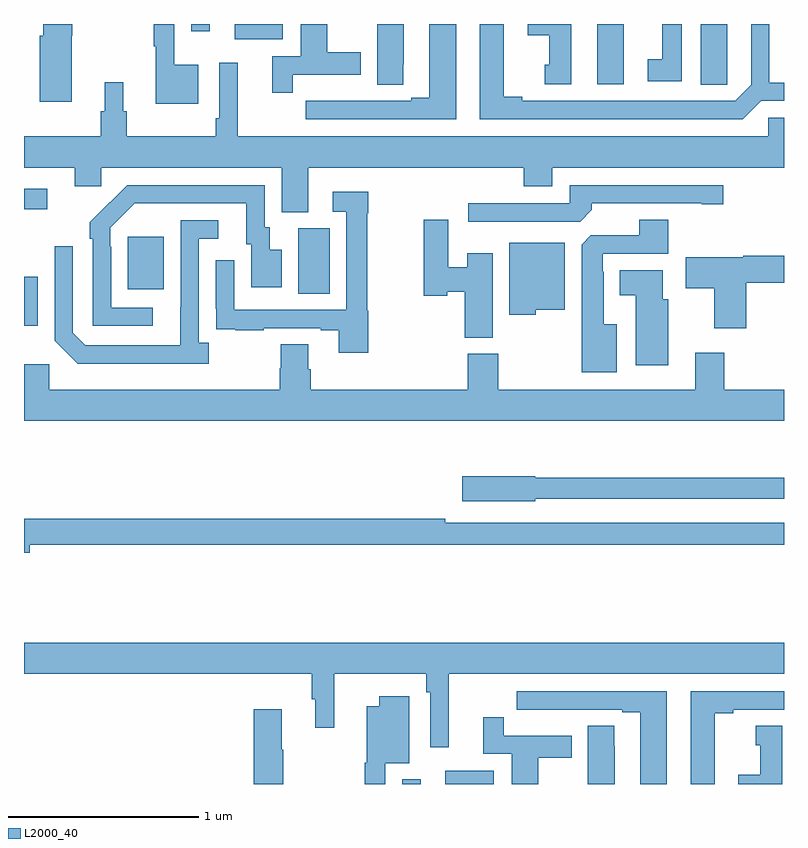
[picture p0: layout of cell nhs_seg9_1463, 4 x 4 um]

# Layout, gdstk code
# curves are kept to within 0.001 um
import gdstk
lib = gdstk.Library(unit=1e-6, precision=1e-09)
def R(c, l, rs):  # rectangles x0, y0, x1, y1
    for r in rs: c.add(gdstk.rectangle(r[:2], r[2:], *l))
def P(c, l, *ps):  # polygons
    for p in ps: c.add(gdstk.Polygon(p, *l))
L2000_40 = (2000, 40)

nhs_seg9_1463 = lib.new_cell('nhs_seg9_1463')
R(nhs_seg9_1463, L2000_40, [(194.991,1202.5,195.088,1202.524), (195.218,1202.5,195.472,1202.569), (193,1204.913,193.072,1205.17), (194.444,1205.08,194.608,1205.424), (193.547,1205.105,193.735,1205.38), (193,1205.526,193.123,1205.634), (196.016,1206.183,196.156,1206.5), (194.108,1206.419,194.362,1206.5), (193.881,1206.462,193.978,1206.5)])
P(nhs_seg9_1463, L2000_40, [(196.462,1206.5),(196.358,1206.5),(196.358,1206.314),(196.284,1206.314),(196.284,1206.198),(196.462,1206.198)],
  [(196.701,1206.289),(196.702,1206.289),(196.702,1206.5),(196.562,1206.5),(196.562,1206.181),(196.701,1206.181)],
  [(193.252,1206.438),(193.254,1206.438),(193.254,1206.5),(193.1,1206.5),(193.1,1206.438),(193.082,1206.438),(193.082,1206.09),(193.252,1206.09)],
  [(193.918,1206.286),(193.791,1206.286),(193.791,1206.5),(193.683,1206.5),(193.683,1206.382),(193.694,1206.382),(193.694,1206.08),(193.918,1206.08)],
  [(194.997,1206.289),(194.998,1206.289),(194.998,1206.5),(194.858,1206.5),(194.858,1206.181),(194.997,1206.181)],
  [(195.274,1206.5),(195.134,1206.5),(195.134,1206.111),(195.038,1206.111),(195.038,1206.096),(194.762,1206.096),(194.762,1206.097),(194.596,1206.097),(194.596,1206.096),(194.484,1206.096),(194.484,1206),(195.274,1206)],
  [(194.414,1206.234),(194.773,1206.234),(194.773,1206.351),(194.596,1206.351),(194.596,1206.5),(194.456,1206.5),(194.456,1206.33),(194.306,1206.33),(194.306,1206.138),(194.414,1206.138)],
  [(195.88,1206.5),(195.65,1206.5),(195.65,1206.44),(195.764,1206.44),(195.764,1206.285),(195.74,1206.285),(195.74,1206.183),(195.88,1206.183)],
  [(196.879,1206.096),(197,1206.096),(197,1206.192),(196.923,1206.192),(196.923,1206.5),(196.827,1206.5),(196.827,1206.18),(196.743,1206.096),(195.622,1206.096),(195.622,1206.116),(195.526,1206.116),(195.526,1206.5),(195.398,1206.5),(195.398,1206),(196.783,1206)],
  [(193.405,1205.908),(193,1205.908),(193,1205.744),(193.268,1205.744),(193.268,1205.646),(193.407,1205.646),(193.407,1205.744),(194.357,1205.744),(194.357,1205.509),(194.497,1205.509),(194.497,1205.744),(195.629,1205.744),(195.629,1205.645),(195.781,1205.645),(195.781,1205.744),(197,1205.744),(197,1206.006),(196.917,1206.006),(196.917,1205.908),(194.126,1205.908),(194.126,1206.295),(194.028,1206.295),(194.028,1206.004),(194.008,1206.004),(194.008,1205.908),(193.541,1205.908),(193.541,1206.042),(193.522,1206.042),(193.522,1206.193),(193.424,1206.193),(193.424,1206.042),(193.405,1206.042)],
  [(193.678,1205.007),(193.458,1205.007),(193.458,1205.327),(193.455,1205.327),(193.455,1205.427),(193.584,1205.556),(194.171,1205.556),(194.171,1205.34),(194.195,1205.34),(194.195,1205.115),(194.356,1205.115),(194.356,1205.311),(194.293,1205.311),(194.293,1205.43),(194.268,1205.43),(194.268,1205.652),(193.544,1205.652),(193.347,1205.457),(193.347,1205.369),(193.362,1205.369),(193.362,1204.911),(193.678,1204.911)],
  [(195.989,1205.522),(195.989,1205.556),(196.568,1205.556),(196.568,1205.551),(196.681,1205.551),(196.681,1205.652),(195.873,1205.652),(195.873,1205.556),(195.339,1205.556),(195.339,1205.46),(195.927,1205.46)],
  [(194.813,1204.992),(194.806,1204.992),(194.806,1205.504),(194.813,1205.504),(194.813,1205.617),(194.625,1205.617),(194.625,1205.511),(194.697,1205.511),(194.697,1204.995),(194.106,1204.995),(194.106,1205.257),(194.01,1205.257),(194.01,1205.002),(194.011,1205.002),(194.011,1204.893),(194.113,1204.893),(194.113,1204.887),(194.261,1204.887),(194.261,1204.899),(194.561,1204.899),(194.561,1204.887),(194.657,1204.887),(194.657,1204.77),(194.813,1204.77)],
  [(196.12,1204.921),(196.051,1204.921),(196.051,1205.195),(196.047,1205.195),(196.047,1205.292),(196.391,1205.292),(196.391,1205.471),(196.238,1205.471),(196.238,1205.388),(195.984,1205.388),(195.935,1205.339),(195.935,1204.667),(196.12,1204.667)],
  [(195.466,1205.293),(195.332,1205.293),(195.332,1205.221),(195.232,1205.221),(195.232,1205.47),(195.103,1205.47),(195.103,1205.069),(195.228,1205.069),(195.228,1205.092),(195.32,1205.092),(195.32,1204.849),(195.466,1204.849)],
  [(193.972,1204.822),(193.92,1204.822),(193.92,1205.37),(194.023,1205.37),(194.023,1205.466),(193.824,1205.466),(193.823,1204.809),(193.323,1204.809),(193.257,1204.875),(193.257,1205.329),(193.161,1205.329),(193.161,1204.833),(193.282,1204.712),(193.972,1204.712)],
  [(195.693,1204.997),(195.847,1204.997),(195.847,1205.35),(195.554,1205.35),(195.554,1204.97),(195.693,1204.97)],
  [(196.802,1205.138),(197,1205.138),(197,1205.28),(196.785,1205.28),(196.785,1205.272),(196.482,1205.272),(196.482,1205.11),(196.634,1205.11),(196.634,1204.899),(196.802,1204.899)],
  [(196.39,1205.052),(196.363,1205.052),(196.363,1205.203),(196.136,1205.203),(196.136,1205.072),(196.22,1205.072),(196.22,1204.704),(196.39,1204.704)],
  [(197,1204.576),(196.685,1204.576),(196.685,1204.771),(196.532,1204.771),(196.532,1204.576),(195.495,1204.576),(195.495,1204.764),(195.335,1204.764),(195.335,1204.576),(194.51,1204.576),(194.51,1204.682),(194.497,1204.682),(194.497,1204.814),(194.35,1204.814),(194.35,1204.689),(194.345,1204.689),(194.345,1204.576),(193.134,1204.576),(193.134,1204.708),(193,1204.708),(193,1204.412),(197,1204.412)],
  [(195.69,1204.002),(197,1204.002),(197,1204.111),(195.69,1204.111),(195.69,1204.119),(195.306,1204.119),(195.306,1203.989),(195.69,1203.989)],
  [(193.03,1203.76),(197,1203.76),(197,1203.876),(195.218,1203.876),(195.218,1203.896),(193,1203.896),(193,1203.718),(193.03,1203.718)],
  [(195.236,1203.08),(197,1203.08),(197,1203.244),(193,1203.244),(193,1203.08),(194.515,1203.08),(194.515,1202.946),(194.534,1202.946),(194.534,1202.796),(194.634,1202.796),(194.634,1203.08),(195.118,1203.08),(195.118,1202.984),(195.138,1202.984),(195.138,1202.694),(195.236,1202.694)],
  [(196.384,1202.988),(195.594,1202.988),(195.594,1202.892),(195.706,1202.892),(195.706,1202.891),(195.872,1202.891),(195.872,1202.892),(196.148,1202.892),(196.148,1202.877),(196.244,1202.877),(196.244,1202.5),(196.384,1202.5)],
  [(196.636,1202.872),(196.732,1202.872),(196.732,1202.892),(197,1202.892),(197,1202.988),(196.508,1202.988),(196.508,1202.5),(196.636,1202.5)],
  [(194.901,1202.609),(195.028,1202.609),(195.028,1202.962),(194.87,1202.962),(194.87,1202.908),(194.804,1202.908),(194.804,1202.613),(194.793,1202.613),(194.793,1202.5),(194.901,1202.5)],
  [(194.364,1202.68),(194.356,1202.68),(194.356,1202.893),(194.21,1202.893),(194.21,1202.5),(194.364,1202.5)],
  [(195.706,1202.638),(195.883,1202.638),(195.883,1202.754),(195.524,1202.754),(195.524,1202.851),(195.416,1202.851),(195.416,1202.658),(195.566,1202.658),(195.566,1202.5),(195.706,1202.5)],
  [(196.108,1202.699),(196.107,1202.699),(196.107,1202.807),(195.968,1202.807),(195.968,1202.5),(196.108,1202.5)],
  [(196.99,1202.806),(196.85,1202.806),(196.85,1202.703),(196.874,1202.703),(196.874,1202.548),(196.76,1202.548),(196.76,1202.5),(196.99,1202.5)])

lib.write_gds('nhs_seg9_1463.gds')
